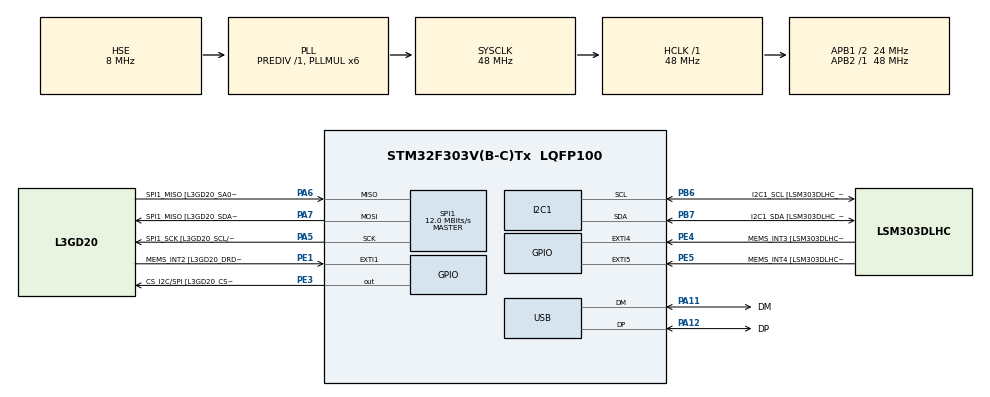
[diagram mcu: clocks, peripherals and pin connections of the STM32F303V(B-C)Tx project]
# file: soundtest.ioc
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I2C1.Timing=0x00201D2B
I2C1.Timing-I2C=0x2000090E
Mcu.Family=STM32F3
Mcu.Name=STM32F303V(B-C)Tx
Mcu.Package=LQFP100
NVIC.PriorityGroup=NVIC_PRIORITYGROUP_0
PA11.GPIO_Label=DM
PA11.Mode=Device
PA11.Signal=USB_DM
PA12.GPIO_Label=DP
PA12.Mode=Device
PA12.Signal=USB_DP
PA13.GPIO_Label=SWDIO
PA13.Mode=Serial_Wire
PA13.Signal=SYS_JTMS-SWDIO
PA14.GPIO_Label=SWCLK
PA14.Mode=Serial_Wire
PA14.Signal=SYS_JTCK-SWCLK
PA5.GPIO_Label=SPI1_SCK [L3GD20_SCL/SPC]
PA5.Mode=Full_Duplex_Master
PA5.Signal=SPI1_SCK
PA6.GPIO_Label=SPI1_MISO [L3GD20_SA0/SDO]
PA6.Mode=Full_Duplex_Master
PA6.Signal=SPI1_MISO
PA7.GPIO_Label=SPI1_MISO [L3GD20_SDA/SDI/SDO]
PA7.Mode=Full_Duplex_Master
PA7.Signal=SPI1_MOSI
PB3.GPIO_Label=SWO
PB3.Signal=SYS_JTDO-TRACESWO
PB6.GPIO_Label=I2C1_SCL [LSM303DLHC_SCL]
PB6.GPIO_Pu=GPIO_PULLUP
PB6.Mode=I2C
PB6.Signal=I2C1_SCL
PB7.GPIO_Label=I2C1_SDA [LSM303DLHC_SDA]
PB7.GPIO_Pu=GPIO_PULLUP
PB7.Mode=I2C
PB7.Signal=I2C1_SDA
PC14-OSC32_IN.GPIO_Label=OSC32_IN
PC14-OSC32_IN.Signal=RCC_OSC32_IN
PC15-OSC32_OUT.GPIO_Label=OSC32_OUT
PC15-OSC32_OUT.Signal=RCC_OSC32_OUT
PE1.GPIO_Label=MEMS_INT2 [L3GD20_DRDY/INT2]
PE1.GPIO_ModeDefaultEXTI=GPIO_MODE_EVT_RISING
PE1.Signal=GPXTI1
PE3.GPIO_Label=CS_I2C/SPI [L3GD20_CS_I2C/SPI]
PE3.Signal=GPIO_Output
PE4.GPIO_Label=MEMS_INT3 [LSM303DLHC_INT1]
PE4.GPIO_ModeDefaultEXTI=GPIO_MODE_EVT_RISING
PE4.Signal=GPXTI4
PE5.GPIO_Label=MEMS_INT4 [LSM303DLHC_INT2]
PE5.GPIO_ModeDefaultEXTI=GPIO_MODE_EVT_RISING
PE5.Signal=GPXTI5
PF0-OSC_IN.GPIO_Label=OSC_IN
PF0-OSC_IN.Mode=HSE-External-Clock-Source
PF0-OSC_IN.Signal=RCC_OSC_IN
PF1-OSC_OUT.GPIO_Label=OSC_OUT
PF1-OSC_OUT.Signal=RCC_OSC_OUT
ProjectManager.HeapSize=0x200
ProjectManager.StackSize=0x400
ProjectManager.TargetToolchain=STM32CubeIDE
RCC.AHBFreq_Value=48000000
RCC.APB1CLKDivider=RCC_HCLK_DIV2
RCC.APB1Freq_Value=24000000
RCC.APB1TimFreq_Value=48000000
RCC.APB2Freq_Value=48000000
RCC.APB2TimFreq_Value=48000000
RCC.CortexFreq_Value=48000000
RCC.HCLKFreq_Value=48000000
RCC.HSE_VALUE=8000000
RCC.HSI_VALUE=8000000
RCC.LSE_VALUE=32768
RCC.PLLMUL=RCC_PLL_MUL6
RCC.SYSCLKFreq_VALUE=48000000
RCC.SYSCLKSourceVirtual=RCC_SYSCLKSOURCE_PLLCLK
RCC.USBFreq_Value=48000000
SPI1.BaudRatePrescaler=SPI_BAUDRATEPRESCALER_4
SPI1.BaudRatePrescaler-Full_Duplex_Master=SPI_BAUDRATEPRESCALER_2
SPI1.CalculateBaudRate=12.0 MBits/s
SPI1.CalculateBaudRate-Full_Duplex_Master=24.0 MBits/s
SPI1.Direction=SPI_DIRECTION_2LINES
SPI1.Mode=SPI_MODE_MASTER
SPI1.Mode-Full_Duplex_Master=SPI_MODE_MASTER
SPI1.VirtualType=VM_MASTER
board=STM32F3DISCOVERY

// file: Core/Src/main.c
/* USER CODE BEGIN Header */
/**
  ******************************************************************************
  * @file           : main.c
  * @brief          : Main program body
  ******************************************************************************
  * @attention
  *
  * Copyright (c) 2025 STMicroelectronics.
  * All rights reserved.
  *
  * This software is licensed under terms that can be found in the LICENSE file
  * in the root directory of this software component.
  * If no LICENSE file comes with this software, it is provided AS-IS.
  *
  ******************************************************************************
  */
/* USER CODE END Header */
#include "main.h"

/* USER CODE BEGIN Includes */
#include "serial.h"
#include <stdio.h>               // for snprintf
#include "serialise.h"
#include "servo.h"
#include "gpio.h"
/* USER CODE END Includes */

/* USER CODE BEGIN PD */
// timing window (±ms) around each beep:
#define TIMING_WINDOW_MS 500
// how many in-a-row to win:
#define GOAL_SCORE       5
#define LED_PORT       GPIOE
#define NUM_LEDS       8
#define BEEP_DEBOUNCE_MS 800
/* USER CODE END PD */

I2C_HandleTypeDef hi2c1;

SPI_HandleTypeDef hspi1;

PCD_HandleTypeDef hpcd_USB_FS;

/* USER CODE BEGIN PV */
volatile uint32_t btn   = 0;   // timestamp of last button press
volatile uint32_t sound = 0;   // timestamp of last beep
volatile uint32_t streak = 0;  // current consecutive hits
volatile bool goal_reached = false;
static const uint16_t LED_PINS[NUM_LEDS] = {
    GPIO_PIN_8,
    GPIO_PIN_9,
    GPIO_PIN_10,
    GPIO_PIN_11,
	GPIO_PIN_12,
	GPIO_PIN_13,
	GPIO_PIN_14,
	GPIO_PIN_15
};
/* USER CODE END PV */

void SystemClock_Config(void);
static void MX_I2C1_Init(void);
static void MX_SPI1_Init(void);
static void MX_USB_PCD_Init(void);
/* USER CODE BEGIN PFP */
static void my_exti_cb(uint16_t pin);
/* USER CODE END PFP */

int main(void)
{

  /* MCU Configuration--------------------------------------------------------*/

  /* Reset of all peripherals, Initializes the Flash interface and the Systick. */
  HAL_Init();

  /* Configure the system clock */
  SystemClock_Config();

  /* Initialize all configured peripherals */
  MX_I2C1_Init();
  MX_SPI1_Init();
  MX_USB_PCD_Init();
  /* USER CODE BEGIN 2 */
  SerialInitialise(
     BAUD_115200,
     &USART1_PORT,
     NULL,     // no TX-complete callback
     NULL      // no RX callback
   );
  // === SERVO INIT ===
  enableClocks();           // turn on all GPIO banks
  setupGPIOPinsTim2();      // configure PA1–PA3, PA15 as TIM2 outputs
  setupTim2Pwm();           // set up TIM2 for 20 ms PWM
  servoAngle(2, 10);
  // 1) Configure PA2 as an input with pull-up
  GPIO_Init(GPIOA, GPIO_PIN_0, /*mode=*/0, /*pull=*/2);
  GPIO_Init(GPIOA, GPIO_PIN_2, /*mode=*/0, /*pull=*/2);

  // 2) Register your callback
  GPIO_EXTI_SetCallback(my_exti_cb);

  // 3) Enable EXTI on those pins
  GPIO_EXTI_Init(  GPIOA, GPIO_PIN_0, GPIO_EXTI_RISING);
  GPIO_EXTI_Init(  GPIOA, GPIO_PIN_2, GPIO_EXTI_FALLING);

  for (uint32_t i = 0; i < NUM_LEDS; i++) {
      GPIO_Init(
        LED_PORT,
        LED_PINS[i],
        /* mode = */ 1,    // 1 = general-purpose output
        /* pull = */ 0     // 0 = no pull
      );
  }

  /* USER CODE END 2 */

  /* Infinite loop */
  /* USER CODE BEGIN WHILE */
  /* USER CODE BEGIN WHILE */
  while (1)
  {
      if (goal_reached) {
          goal_reached = false;          // clear the trigger
          servoAngle(2, 10);             // move servo in “safe” context
      }
  }
    /* USER CODE END WHILE */

}

void SystemClock_Config(void)
{
  RCC_OscInitTypeDef RCC_OscInitStruct = {0};
  RCC_ClkInitTypeDef RCC_ClkInitStruct = {0};
  RCC_PeriphCLKInitTypeDef PeriphClkInit = {0};

  /** Initializes the RCC Oscillators according to the specified parameters
  * in the RCC_OscInitTypeDef structure.
  */
  RCC_OscInitStruct.OscillatorType = RCC_OSCILLATORTYPE_HSI|RCC_OSCILLATORTYPE_HSE;
  RCC_OscInitStruct.HSEState = RCC_HSE_BYPASS;
  RCC_OscInitStruct.HSEPredivValue = RCC_HSE_PREDIV_DIV1;
  RCC_OscInitStruct.HSIState = RCC_HSI_ON;
  RCC_OscInitStruct.HSICalibrationValue = RCC_HSICALIBRATION_DEFAULT;
  RCC_OscInitStruct.PLL.PLLState = RCC_PLL_ON;
  RCC_OscInitStruct.PLL.PLLSource = RCC_PLLSOURCE_HSE;
  RCC_OscInitStruct.PLL.PLLMUL = RCC_PLL_MUL6;
  if (HAL_RCC_OscConfig(&RCC_OscInitStruct) != HAL_OK)
  {
    Error_Handler();
  }

  /** Initializes the CPU, AHB and APB buses clocks
  */
  RCC_ClkInitStruct.ClockType = RCC_CLOCKTYPE_HCLK|RCC_CLOCKTYPE_SYSCLK
                              |RCC_CLOCKTYPE_PCLK1|RCC_CLOCKTYPE_PCLK2;
  RCC_ClkInitStruct.SYSCLKSource = RCC_SYSCLKSOURCE_PLLCLK;
  RCC_ClkInitStruct.AHBCLKDivider = RCC_SYSCLK_DIV1;
  RCC_ClkInitStruct.APB1CLKDivider = RCC_HCLK_DIV2;
  RCC_ClkInitStruct.APB2CLKDivider = RCC_HCLK_DIV1;

  if (HAL_RCC_ClockConfig(&RCC_ClkInitStruct, FLASH_LATENCY_1) != HAL_OK)
  {
    Error_Handler();
  }
  PeriphClkInit.PeriphClockSelection = RCC_PERIPHCLK_USB|RCC_PERIPHCLK_I2C1;
  PeriphClkInit.I2c1ClockSelection = RCC_I2C1CLKSOURCE_HSI;
  PeriphClkInit.USBClockSelection = RCC_USBCLKSOURCE_PLL;
  if (HAL_RCCEx_PeriphCLKConfig(&PeriphClkInit) != HAL_OK)
  {
    Error_Handler();
  }
}

static void MX_I2C1_Init(void)
{

  hi2c1.Instance = I2C1;
  hi2c1.Init.Timing = 0x00201D2B;
  hi2c1.Init.OwnAddress1 = 0;
  hi2c1.Init.AddressingMode = I2C_ADDRESSINGMODE_7BIT;
  hi2c1.Init.DualAddressMode = I2C_DUALADDRESS_DISABLE;
  hi2c1.Init.OwnAddress2 = 0;
  hi2c1.Init.OwnAddress2Masks = I2C_OA2_NOMASK;
  hi2c1.Init.GeneralCallMode = I2C_GENERALCALL_DISABLE;
  hi2c1.Init.NoStretchMode = I2C_NOSTRETCH_DISABLE;
  if (HAL_I2C_Init(&hi2c1) != HAL_OK)
  {
    Error_Handler();
  }

  /** Configure Analogue filter
  */
  if (HAL_I2CEx_ConfigAnalogFilter(&hi2c1, I2C_ANALOGFILTER_ENABLE) != HAL_OK)
  {
    Error_Handler();
  }

  /** Configure Digital filter
  */
  if (HAL_I2CEx_ConfigDigitalFilter(&hi2c1, 0) != HAL_OK)
  {
    Error_Handler();
  }

}

static void MX_SPI1_Init(void)
{

  /* SPI1 parameter configuration*/
  hspi1.Instance = SPI1;
  hspi1.Init.Mode = SPI_MODE_MASTER;
  hspi1.Init.Direction = SPI_DIRECTION_2LINES;
  hspi1.Init.DataSize = SPI_DATASIZE_4BIT;
  hspi1.Init.CLKPolarity = SPI_POLARITY_LOW;
  hspi1.Init.CLKPhase = SPI_PHASE_1EDGE;
  hspi1.Init.NSS = SPI_NSS_SOFT;
  hspi1.Init.BaudRatePrescaler = SPI_BAUDRATEPRESCALER_4;
  hspi1.Init.FirstBit = SPI_FIRSTBIT_MSB;
  hspi1.Init.TIMode = SPI_TIMODE_DISABLE;
  hspi1.Init.CRCCalculation = SPI_CRCCALCULATION_DISABLE;
  hspi1.Init.CRCPolynomial = 7;
  hspi1.Init.CRCLength = SPI_CRC_LENGTH_DATASIZE;
  hspi1.Init.NSSPMode = SPI_NSS_PULSE_ENABLE;
  if (HAL_SPI_Init(&hspi1) != HAL_OK)
  {
    Error_Handler();
  }

}

static void MX_USB_PCD_Init(void)
{

  hpcd_USB_FS.Instance = USB;
  hpcd_USB_FS.Init.dev_endpoints = 8;
  hpcd_USB_FS.Init.speed = PCD_SPEED_FULL;
  hpcd_USB_FS.Init.phy_itface = PCD_PHY_EMBEDDED;
  hpcd_USB_FS.Init.low_power_enable = DISABLE;
  hpcd_USB_FS.Init.battery_charging_enable = DISABLE;
  if (HAL_PCD_Init(&hpcd_USB_FS) != HAL_OK)
  {
    Error_Handler();
  }

}

/* USER CODE BEGIN 4 */
/* helper to refresh the LEDs */
static void updateLeds(void)
{
    // clamp streak so we never over-run the array
    uint32_t s = (streak > NUM_LEDS ? NUM_LEDS : streak);

    for (uint32_t i = 0; i < NUM_LEDS; i++)
    {
        // use our gpio module’s write function
        GPIO_Write(
          LED_PORT,
          LED_PINS[i],
          (i < s) ? GPIO_PIN_SET : GPIO_PIN_RESET
        );
    }
}
static void my_exti_cb(uint16_t pin)
{
    uint32_t now = HAL_GetTick();
    static uint32_t last_beep_time = 0;

    if (pin == GPIO_PIN_2)  // sound detected (beep)
    {
        uint32_t now = HAL_GetTick();
        if (now - last_beep_time < BEEP_DEBOUNCE_MS)
            return;  // debounce: ignore if too soon after last beep

        last_beep_time = now;
        sound = now;

        Data d = { .beep_data = { .timestamp = now } };
        uint8_t packet[ sizeof(Header) + sizeof(BeepData) ];
        uint16_t len = pack_buffer(packet, BEEP_EVENT, &d);
        SerialOutputBuffer(packet, len, &USART1_PORT);
    }
    else if (pin == GPIO_PIN_0) // button pressed
    {
        btn = now;
        uint32_t delta = (btn > sound) ? (btn - sound) : (sound - btn);
        // === Transmit button press ===
        Data button_data = { .button_press_data = { .timestamp = now } };
        uint8_t packet[ sizeof(Header) + sizeof(ButtonPressData) ];
        uint16_t packet_len = pack_buffer(packet, BUTTON_PRESS, &button_data);
        SerialOutputBuffer(packet, packet_len, &USART1_PORT);

        if (delta <= TIMING_WINDOW_MS)
        {
            // Correct timing → increment streak
            streak++;

            // Serialize & send new streak
            Data d = { .streak_data = { .streak = streak } };
            uint8_t packet[ sizeof(Header) + sizeof(StreakData) ];
            uint16_t packet_len = pack_buffer(packet, STREAK_DATA, &d);
            SerialOutputBuffer(packet, packet_len, &USART1_PORT);
            // Optional: check for goal
            if (streak >= GOAL_SCORE)
            {
                goal_reached = true;
            }
        }
        else
        {
            // Incorrect timing (or no prior beep) → reset streak
            streak = 0;
            Data d = { .streak_data = { .streak = streak } };
            uint8_t packet[ sizeof(Header) + sizeof(StreakData) ];
            uint16_t packet_len = pack_buffer(packet, STREAK_DATA, &d);
            SerialOutputBuffer(packet, packet_len, &USART1_PORT);
        }

        updateLeds();  // redraw LEDs based on new streak
    }
}

/* USER CODE END 4 */

void Error_Handler(void)
{
  __disable_irq();
  while (1)
  {
  }
}
